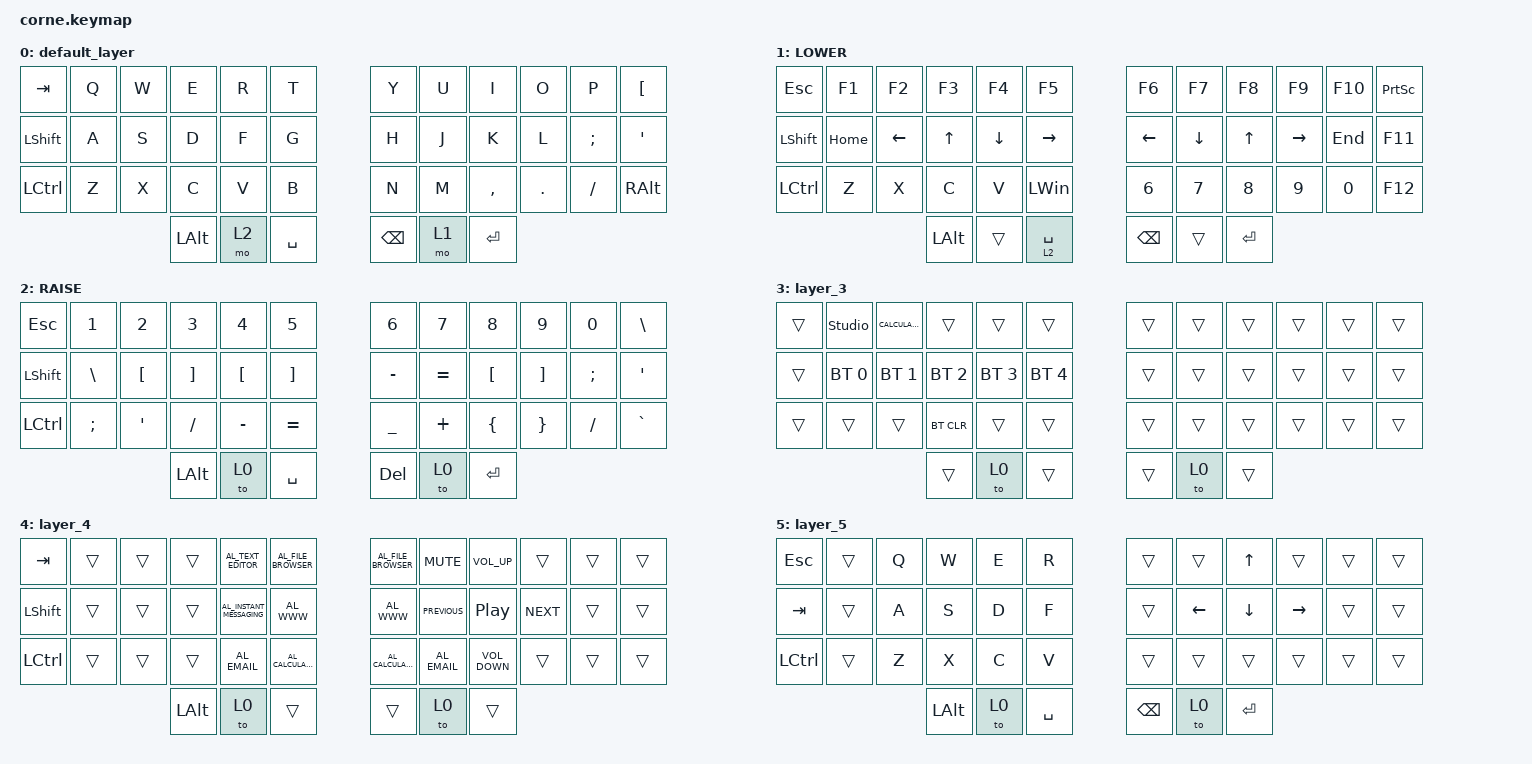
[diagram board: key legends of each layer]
/*
 * Copyright (c) 2020 The ZMK Contributors
 *
 * SPDX-License-Identifier: MIT
 */

#include <behaviors.dtsi>
#include <dt-bindings/zmk/bt.h>
#include <dt-bindings/zmk/keys.h>

/ {
    combos {
        compatible = "zmk,combos";

        Capslock {
            bindings = <&kp CAPS>;
            key-positions = <17 18>;
        };

        BluetoothLayer {
            bindings = <&tog 3>;
            key-positions = <4 17 7 18>;
        };

        ToFunctionLayer {
            bindings = <&tog 4>;
            key-positions = <0 38>;
        };

        Isac {
            bindings = <&tog 5>;
            key-positions = <8 14 13 27>;
        };

        lefthandnumbers {
            bindings = <&tog 2>;
            key-positions = <37 38>;
        };
    };

    keymap {
        compatible = "zmk,keymap";

        default_layer {
            // -----------------------------------------------------------------------------------------
            // |  TAB |  Q  |  W  |  E  |  R  |  T  |   |  Y  |  U   |  I  |  O  |  P  | BKSP |
            // | CTRL |  A  |  S  |  D  |  F  |  G  |   |  H  |  J   |  K  |  L  |  ;  |  '   |
            // | SHFT |  Z  |  X  |  C  |  V  |  B  |   |  N  |  M   |  ,  |  .  |  /  | ESC  |
            //                    | GUI | LWR | SPC |   | ENT | RSE  | ALT |

            bindings = <
&kp TAB         &kp Q  &kp W  &kp E         &kp R  &kp T        &kp Y          &kp U  &kp I      &kp O    &kp P     &kp LEFT_BRACKET
&kp LEFT_SHIFT  &kp A  &kp S  &kp D         &kp F  &kp G        &kp H          &kp J  &kp K      &kp L    &kp SEMI  &kp SQT
&kp LCTRL       &kp Z  &kp X  &kp C         &kp V  &kp B        &kp N          &kp M  &kp COMMA  &kp DOT  &kp FSLH  &kp RALT
                              &kp LEFT_ALT  &mo 2  &kp SPACE    &kp BACKSPACE  &mo 1  &kp ENTER
            >;
        };

        LOWER {
            bindings = <
&kp ESCAPE  &kp F1    &kp F2    &kp F3        &kp F4          &kp F5          &kp F6         &kp F7          &kp F8        &kp F9     &kp F10  &kp PRINTSCREEN
&kp LSHFT   &kp HOME  &kp LEFT  &kp UP_ARROW  &kp DOWN_ARROW  &kp RIGHT       &kp LEFT       &kp DOWN_ARROW  &kp UP_ARROW  &kp RIGHT  &kp END  &kp F11
&kp LCTRL   &kp Z     &kp X     &kp C         &kp V           &kp LEFT_WIN    &kp N6         &kp N7          &kp N8        &kp N9     &kp N0   &kp F12
                                &kp LEFT_ALT  &trans          &lt 2 SPACE     &kp BACKSPACE  &trans          &kp ENTER
            >;
        };

        RAISE {
            // -----------------------------------------------------------------------------------------
            // |  TAB |  !  |  @  |  #  |  $  |  %  |   |  ^  |  &  |  *  |  (  |  )  | BKSP |
            // | CTRL |     |     |     |     |     |   |  -  |  =  |  [  |  ]  |  \  |  `   |
            // | SHFT |     |     |     |     |     |   |  _  |  +  |  {  |  }  | "|" |  ~   |
            //                    | GUI |     | SPC |   | ENT |     | ALT |

            bindings = <
&kp ESC         &kp N1         &kp N2    &kp N3        &kp N4     &kp N5       &kp N6          &kp N7     &kp N8            &kp N9             &kp N0         &kp BSLH
&kp LEFT_SHIFT  &kp BSLH       &kp LBKT  &kp RBKT      &kp LBKT   &kp RBKT     &kp MINUS       &kp EQUAL  &kp LEFT_BRACKET  &kp RIGHT_BRACKET  &kp SEMICOLON  &kp SQT
&kp LCTRL       &kp SEMICOLON  &kp APOS  &kp FSLH      &kp MINUS  &kp EQUAL    &kp UNDERSCORE  &kp PLUS   &kp LEFT_BRACE    &kp RIGHT_BRACE    &kp SLASH      &kp GRAVE
                                         &kp LEFT_ALT  &to 0      &kp SPACE    &kp DELETE      &to 0      &kp ENTER
            >;
        };

        layer_3 {
            bindings = <
&trans  &studio_unlock  &kp K_CALCULATOR  &trans        &trans        &trans          &trans  &trans  &trans  &trans  &trans  &trans
&trans  &bt BT_SEL 0    &bt BT_SEL 1      &bt BT_SEL 2  &bt BT_SEL 3  &bt BT_SEL 4    &trans  &trans  &trans  &trans  &trans  &trans
&trans  &trans          &trans            &bt BT_CLR    &trans        &trans          &trans  &trans  &trans  &trans  &trans  &trans
                                          &trans        &to 0         &trans          &trans  &to 0   &trans
            >;
        };

        layer_4 {
            bindings = <
&kp TAB         &trans  &trans  &trans        &kp C_AL_TEXT_EDITOR        &kp C_AL_FILE_BROWSER    &kp C_AL_FILE_BROWSER  &kp C_MUTE      &kp C_VOLUME_UP    &trans      &trans  &trans
&kp LEFT_SHIFT  &trans  &trans  &trans        &kp C_AL_INSTANT_MESSAGING  &kp C_AL_WWW             &kp C_AL_WWW           &kp C_PREVIOUS  &kp C_PLAY_PAUSE   &kp C_NEXT  &trans  &trans
&kp LCTRL       &trans  &trans  &trans        &kp C_AL_EMAIL              &kp C_AL_CALCULATOR      &kp C_AL_CALCULATOR    &kp C_AL_EMAIL  &kp C_VOLUME_DOWN  &trans      &trans  &trans
                                &kp LEFT_ALT  &to 0                       &trans                   &trans                 &to 0           &trans
            >;
        };

        layer_5 {
            bindings = <
&kp ESC           &trans  &kp Q  &kp W         &kp E  &kp R        &trans         &trans    &kp UP     &trans     &trans  &trans
&kp TAB           &trans  &kp A  &kp S         &kp D  &kp F        &trans         &kp LEFT  &kp DOWN   &kp RIGHT  &trans  &trans
&kp LEFT_CONTROL  &trans  &kp Z  &kp X         &kp C  &kp V        &trans         &trans    &trans     &trans     &trans  &trans
                                 &kp LEFT_ALT  &to 0  &kp SPACE    &kp BACKSPACE  &to 0     &kp ENTER
            >;
        };
    };
};
